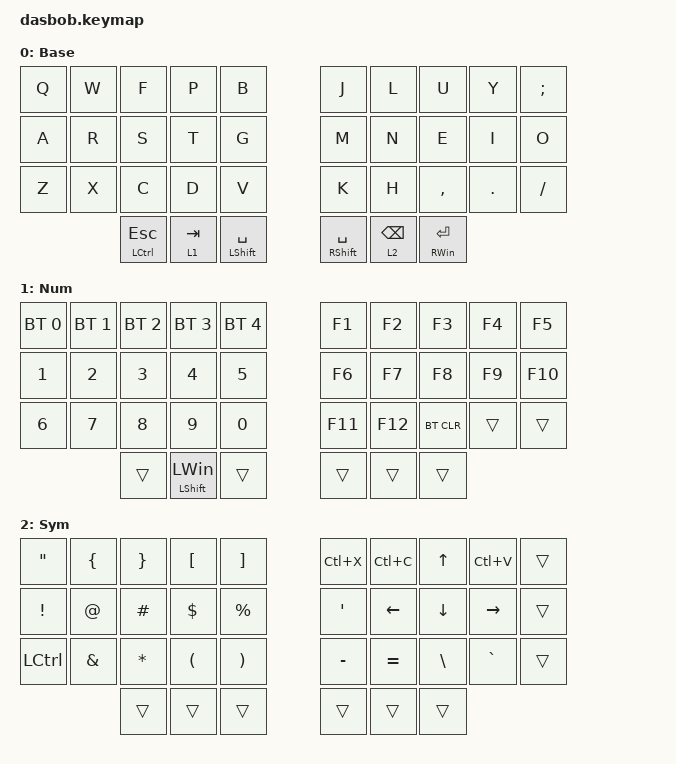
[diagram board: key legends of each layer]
#include <behaviors.dtsi>
#include <dt-bindings/zmk/bt.h>
#include <dt-bindings/zmk/keys.h>

/ {
    behaviors {
        hm: homerow_mods {
            compatible = "zmk,behavior-hold-tap";
            label = "HOMEROW_MODS";
            bindings = <&kp>, <&kp>;

            #binding-cells = <2>;
            tapping-term-ms = <200>;
            quick-tap-ms = <0>;
            flavor = "tap-preferred";
        };
    };

    macros {
        snip: snip {
            compatible = "zmk,behavior-macro";
            #binding-cells = <0>;
            bindings = <&kp LSHFT &kp LEFT_GUI &kp S>;
            label = "SNIP";
        };

        lock: lock {
            compatible = "zmk,behavior-macro";
            #binding-cells = <0>;
            bindings = <&kp LEFT_GUI &kp L>;
            label = "LOCK";
        };
    };

    keymap {
        compatible = "zmk,keymap";

        // This is a sample keymap intended to be replaced with your own

        Base {
            bindings = <
  &kp Q  &kp W  &kp F          &kp P            &kp B        &kp J            &kp L            &kp U                &kp Y    &kp SEMICOLON
  &kp A  &kp R  &kp S          &kp T            &kp G        &kp M            &kp N            &kp E                &kp I    &kp O
  &kp Z  &kp X  &kp C          &kp D            &kp V        &kp K            &kp H            &kp COMMA            &kp DOT  &kp SLASH
                &hm LCTRL ESC  &lt 1 TAB  &hm LSHFT SPACE    &hm RSHFT SPACE  &lt 2 BACKSPACE  &hm RIGHT_WIN ENTER
            >;
        };

        Num {
            bindings = <
  &bt BT_SEL 0  &bt BT_SEL 1  &bt BT_SEL 2  &bt BT_SEL 3    &bt BT_SEL 4    &kp F1   &kp F2   &kp F3      &kp F4  &kp F5
  &kp NUMBER_1  &kp N2        &kp N3        &kp N4          &kp N5          &kp F6   &kp F7   &kp F8      &kp F9  &kp F10
  &kp NUMBER_6  &kp NUMBER_7  &kp N8        &kp N9          &kp N0          &kp F11  &kp F12  &bt BT_CLR  &trans  &trans
                              &trans        &hm LSHFT LWIN  &trans          &trans   &trans   &trans
            >;
        };

        Sym {
            bindings = <
  &kp DOUBLE_QUOTES  &kp LEFT_BRACE  &kp RIGHT_BRACE  &kp LEFT_BRACKET      &kp RIGHT_BRACKET        &kp LC(X)         &kp LC(C)  &kp UP         &kp LC(V)  &trans
  &kp EXCLAMATION    &kp AT_SIGN     &kp HASH         &kp DOLLAR            &kp PERCENT              &kp SINGLE_QUOTE  &kp LEFT   &kp DOWN       &kp RIGHT  &trans
  &kp LCTRL          &kp AMPERSAND   &kp ASTERISK     &kp LEFT_PARENTHESIS  &kp RIGHT_PARENTHESIS    &kp MINUS         &kp EQUAL  &kp BACKSLASH  &kp GRAVE  &trans
                                     &trans           &trans                &trans                   &trans            &trans     &trans
            >;
        };
    };
};
